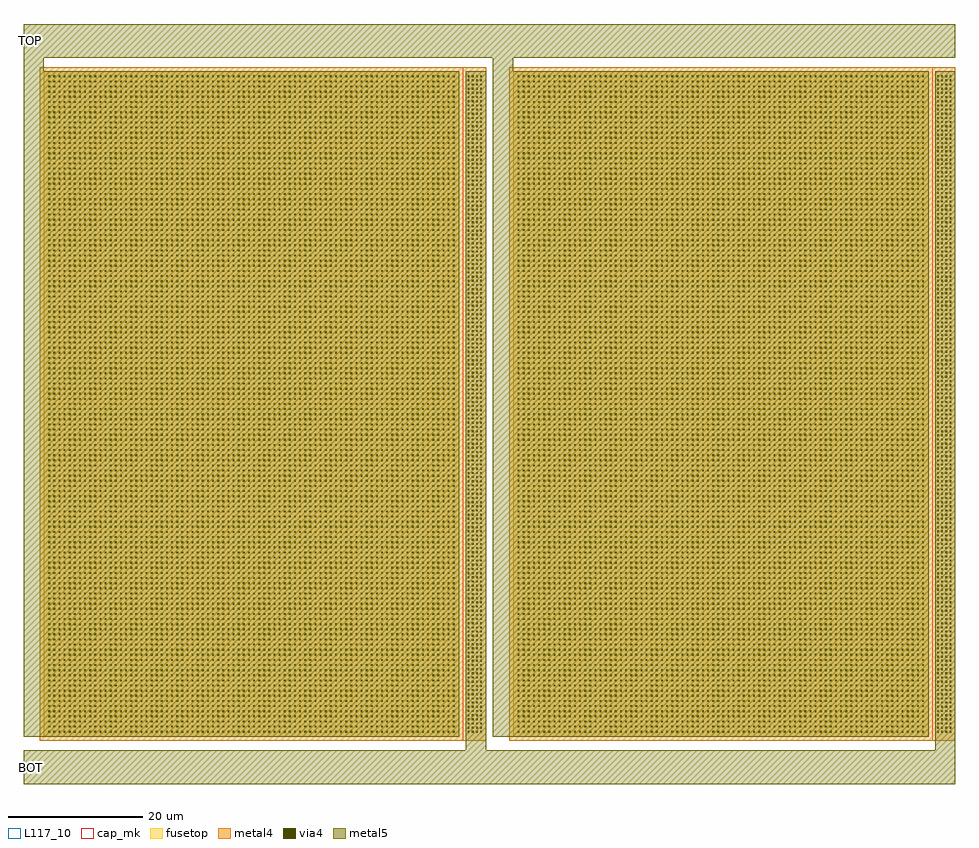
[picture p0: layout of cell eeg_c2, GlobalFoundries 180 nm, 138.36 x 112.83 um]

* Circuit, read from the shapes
.subckt eeg_c2 BOT TOP
XC1 TOP BOT cap_mim_2f0fF c_width=61.68u c_length=98.83u m=2
.ends

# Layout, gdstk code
import gdstk
lib = gdstk.Library(unit=1e-6, precision=1e-09)
def R(c, l, rs):  # rectangles x0, y0, x1, y1
    for r in rs: c.add(gdstk.rectangle(r[:2], r[2:], *l))
def A(c, l, x, y, w, h, nx, ny, dx, dy):  # array of equal rectangles
    R(c, l, [(x+i*dx, y+j*dy, x+i*dx+w, y+j*dy+h) for i in range(nx) for j in range(ny)])
via4 = (41, 0)
metal4 = (46, 0)
fusetop = (75, 0)
metal5 = (81, 0)
cap_mk = (117, 5)
L117_10 = (117, 10)

cap_mim = lib.new_cell('cap_mim')
A(cap_mim, via4, 0.69, 0.645, 0.26, 0.26, 80, 129, 0.76, 0.76)
R(cap_mim, metal4, [(-0.6,-0.6,62.28,99.43)])
R(cap_mim, fusetop, [(0,0,61.68,98.83)])
R(cap_mim, metal5, [(0,0,61.68,98.83)])
R(cap_mim, cap_mk, [(-0.6,-0.6,62.28,99.43)])
R(cap_mim, L117_10, [(0,0,61.68,0.1)])

eeg_c2 = lib.new_cell('eeg_c2')
A(eeg_c2, via4, 65.945, 7.615, 0.26, 0.26, 4, 158, 0.62, 0.62)
A(eeg_c2, via4, 135.625, 7.615, 0.26, 0.26, 4, 158, 0.62, 0.62)
R(eeg_c2, metal4, [(64.98,6.4,68.68,106.43), (134.66,6.4,138.36,106.43), (65.68,7.4,68.33,105.43), (135.36,7.4,138.01,105.43)])
R(eeg_c2, metal5, [(0,0,138.36,5), (65.68,0,68.68,105.83), (135.36,0,138.36,105.83), (0,7,3,112.83), (69.68,7,72.68,112.83), (65.68,7.4,68.33,105.43), (135.36,7.4,138.01,105.43), (0,107.83,138.36,112.83)])
eeg_c2.add(gdstk.Reference(cap_mim, (3,7)))
eeg_c2.add(gdstk.Reference(cap_mim, (72.68,7)))
eeg_c2.add(gdstk.Label('TOP', (1,110.33), layer=81, texttype=10))
eeg_c2.add(gdstk.Label('BOT', (1,2.5), layer=81, texttype=10))

lib.write_gds('eeg_c2.gds')
